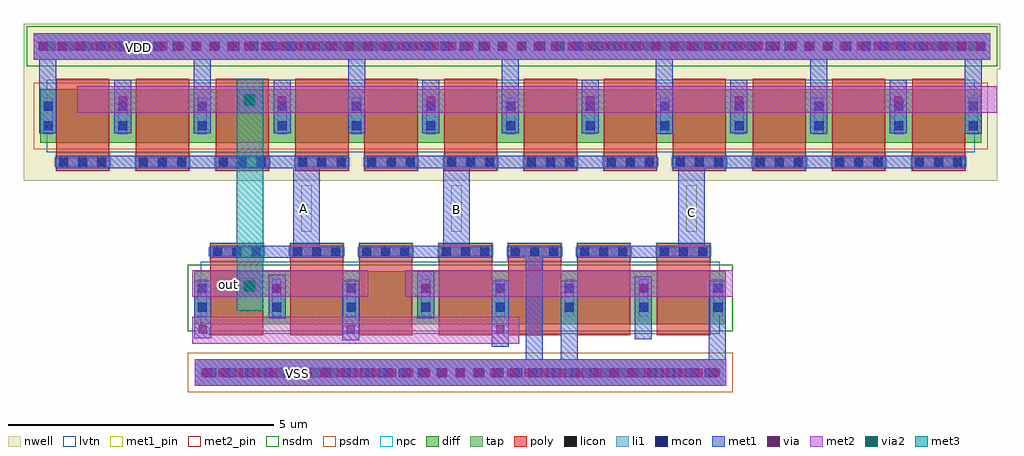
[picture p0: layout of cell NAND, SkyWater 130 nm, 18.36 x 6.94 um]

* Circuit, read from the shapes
.subckt NAND A B C VDD VSS out
XM1 out A n1 VSS sky130_fd_pr__nfet_01v8_lvt w=1 l=1 m=2
XM2 n2 B n1 VSS sky130_fd_pr__nfet_01v8_lvt w=1 l=1 m=2
XM3 VSS VSS n1 VSS sky130_fd_pr__nfet_01v8_lvt w=1 l=1
XM4 n2 C VSS VSS sky130_fd_pr__nfet_01v8_lvt w=1 l=1 m=2
XM5 out A VDD VDD sky130_fd_pr__pfet_01v8_lvt w=1 l=1 m=4
XM6 out B VDD VDD sky130_fd_pr__pfet_01v8_lvt w=1 l=1 m=4
XM7 out C VDD VDD sky130_fd_pr__pfet_01v8_lvt w=1 l=1 m=4
.ends

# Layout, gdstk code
import gdstk
lib = gdstk.Library(unit=1e-6, precision=5e-09)
def R(c, l, rs):  # rectangles x0, y0, x1, y1
    for r in rs: c.add(gdstk.rectangle(r[:2], r[2:], *l))
def A(c, l, x, y, w, h, nx, ny, dx, dy):  # array of equal rectangles
    R(c, l, [(x+i*dx, y+j*dy, x+i*dx+w, y+j*dy+h) for i in range(nx) for j in range(ny)])
nwell = (64, 20)
diff = (65, 20)
tap = (65, 44)
poly = (66, 20)
licon = (66, 44)
li1 = (67, 20)
mcon = (67, 44)
met1_pin = (68, 16)
met1 = (68, 20)
via = (68, 44)
met2_pin = (69, 16)
met2 = (69, 20)
via2 = (69, 44)
met3 = (70, 20)
nsdm = (93, 44)
psdm = (94, 20)
npc = (95, 20)
lvtn = (125, 44)

pfet = lib.new_cell('pfet')
R(pfet, nwell, [(-0.305,-0.72,6.405,1.38)])
R(pfet, diff, [(0,0,6.1,1)])
A(pfet, poly, 0.3, -0.53, 1, 0.33, 4, 1, 1.5, 0)
A(pfet, poly, 0.3, -0.2, 1, 1.4, 4, 1, 1.5, 0)
A(pfet, licon, 0.355, -0.45, 0.17, 0.17, 3, 1, 0.36, 0)
A(pfet, licon, 1.855, -0.45, 0.17, 0.17, 3, 1, 0.36, 0)
A(pfet, licon, 3.355, -0.45, 0.17, 0.17, 3, 1, 0.36, 0)
A(pfet, licon, 4.855, -0.45, 0.17, 0.17, 3, 1, 0.36, 0)
A(pfet, licon, 1.465, 0.235, 0.17, 0.17, 3, 2, 1.5, 0.36)
R(pfet, licon, [(0.065,0.235,0.235,0.405), (5.865,0.235,6.035,0.405), (0.065,0.595,0.235,0.765), (5.865,0.595,6.035,0.765)])
A(pfet, li1, 0.275, -0.45, 1.05, 0.17, 4, 1, 1.5, 0)
A(pfet, li1, 1.465, 0.155, 0.17, 0.69, 3, 1, 1.5, 0)
R(pfet, li1, [(0.065,0.155,0.235,0.845), (5.865,0.155,6.035,0.845)])
A(pfet, mcon, 0.355, -0.45, 0.17, 0.17, 3, 1, 0.36, 0)
A(pfet, mcon, 1.855, -0.45, 0.17, 0.17, 3, 1, 0.36, 0)
A(pfet, mcon, 3.355, -0.45, 0.17, 0.17, 3, 1, 0.36, 0)
A(pfet, mcon, 4.855, -0.45, 0.17, 0.17, 3, 1, 0.36, 0)
A(pfet, mcon, 1.465, 0.235, 0.17, 0.17, 3, 2, 1.5, 0.36)
R(pfet, mcon, [(0.065,0.235,0.235,0.405), (5.865,0.235,6.035,0.405), (0.065,0.595,0.235,0.765), (5.865,0.595,6.035,0.765)])
A(pfet, met1, 0.295, -0.48, 1.01, 0.23, 4, 1, 1.5, 0)
A(pfet, met1, 1.435, 0.175, 0.23, 0.65, 3, 1, 1.5, 0)
R(pfet, met1, [(0.035,0.175,0.265,0.825), (5.835,0.175,6.065,0.825)])
R(pfet, psdm, [(-0.125,-0.125,6.225,1.125)])
A(pfet, npc, 0.29, -0.54, 1.02, 0.35, 4, 1, 1.5, 0)
R(pfet, lvtn, [(0.12,-0.18,5.98,1.18)])

vias_gen = lib.new_cell('vias_gen')
R(vias_gen, nwell, [(-0.18,-0.18,18.18,0.68)])
R(vias_gen, tap, [(0,0,18,0.5)])
A(vias_gen, licon, 0.245, 0.165, 0.17, 0.17, 52, 1, 0.34, 0)
R(vias_gen, li1, [(0,0,18,0.5)])
A(vias_gen, mcon, 0.095, 0.165, 0.17, 0.17, 50, 1, 0.36, 0)
R(vias_gen, met1, [(0,0,18,0.5)])
A(vias_gen, via, 0.125, 0.175, 0.15, 0.15, 56, 1, 0.32, 0)
R(vias_gen, met2, [(0,0,18,0.5)])
R(vias_gen, nsdm, [(-0.125,-0.125,18.125,0.625)])

nfet_1 = lib.new_cell('nfet$1')
R(nfet_1, diff, [(0,0,1.6,1)])
R(nfet_1, poly, [(0.3,-0.2,1.3,1.2), (0.3,1.2,1.3,1.53)])
A(nfet_1, licon, 0.355, 1.28, 0.17, 0.17, 3, 1, 0.36, 0)
R(nfet_1, licon, [(0.065,0.235,0.235,0.405), (1.365,0.235,1.535,0.405), (0.065,0.595,0.235,0.765), (1.365,0.595,1.535,0.765)])
R(nfet_1, li1, [(0.065,0.155,0.235,0.845), (1.365,0.155,1.535,0.845), (0.275,1.28,1.325,1.45)])
A(nfet_1, mcon, 0.355, 1.28, 0.17, 0.17, 3, 1, 0.36, 0)
R(nfet_1, mcon, [(0.065,0.235,0.235,0.405), (1.365,0.235,1.535,0.405), (0.065,0.595,0.235,0.765), (1.365,0.595,1.535,0.765)])
R(nfet_1, met1, [(0.035,0.175,0.265,0.825), (1.335,0.175,1.565,0.825), (0.295,1.25,1.305,1.48)])
R(nfet_1, nsdm, [(-0.125,-0.125,1.725,1.125)])
R(nfet_1, npc, [(0.29,1.19,1.31,1.54)])
R(nfet_1, lvtn, [(0.12,-0.18,1.48,1.18)])

nfet = lib.new_cell('nfet')
R(nfet, diff, [(0,0,3.1,1)])
R(nfet, poly, [(0.3,-0.2,1.3,1.2), (1.8,-0.2,2.8,1.2), (0.3,1.2,1.3,1.53), (1.8,1.2,2.8,1.53)])
A(nfet, licon, 0.065, 0.235, 0.17, 0.17, 3, 2, 1.4, 0.36)
A(nfet, licon, 0.355, 1.28, 0.17, 0.17, 3, 1, 0.36, 0)
A(nfet, licon, 1.855, 1.28, 0.17, 0.17, 3, 1, 0.36, 0)
A(nfet, li1, 0.065, 0.155, 0.17, 0.69, 3, 1, 1.4, 0)
R(nfet, li1, [(0.275,1.28,1.325,1.45), (1.775,1.28,2.825,1.45)])
A(nfet, mcon, 0.065, 0.235, 0.17, 0.17, 3, 2, 1.4, 0.36)
A(nfet, mcon, 0.355, 1.28, 0.17, 0.17, 3, 1, 0.36, 0)
A(nfet, mcon, 1.855, 1.28, 0.17, 0.17, 3, 1, 0.36, 0)
A(nfet, met1, 0.035, 0.175, 0.23, 0.65, 3, 1, 1.4, 0)
R(nfet, met1, [(0.295,1.25,1.305,1.48), (1.795,1.25,2.805,1.48)])
R(nfet, nsdm, [(-0.125,-0.125,3.225,1.125)])
R(nfet, npc, [(0.29,1.19,1.31,1.54), (1.79,1.19,2.81,1.54)])
R(nfet, lvtn, [(0.12,-0.18,2.98,1.18)])

vias_gen_1 = lib.new_cell('vias_gen$1')
R(vias_gen_1, tap, [(0,0,10,0.5)])
A(vias_gen_1, licon, 0.155, 0.165, 0.17, 0.17, 29, 1, 0.34, 0)
R(vias_gen_1, li1, [(0,0,10,0.5)])
A(vias_gen_1, mcon, 0.235, 0.165, 0.17, 0.17, 27, 1, 0.36, 0)
R(vias_gen_1, met1, [(0,0,10,0.5)])
A(vias_gen_1, via, 0.125, 0.175, 0.15, 0.15, 31, 1, 0.32, 0)
R(vias_gen_1, met2, [(0,0,10,0.5)])
R(vias_gen_1, psdm, [(-0.125,-0.125,10.125,0.625)])

vias_gen_2 = lib.new_cell('vias_gen$2')
R(vias_gen_2, met1, [(0,0,0.32,0.26)])
R(vias_gen_2, via, [(0.085,0.055,0.235,0.205)])
R(vias_gen_2, met2, [(0,0,0.32,0.26)])

vias_gen_4 = lib.new_cell('vias_gen$4')
R(vias_gen_4, met2, [(0,0,0.37,0.33)])
R(vias_gen_4, via2, [(0.085,0.065,0.285,0.265)])
R(vias_gen_4, met3, [(0,0,0.37,0.33)])

nand = lib.new_cell('NAND')
nand.add(gdstk.FlexPath([(4.25,2.375),(4.25,3.38)], 0.32, ends="flush", simple_path=True, layer=68, datatype=20))  # met1
nand.add(gdstk.FlexPath([(5.65,2.375),(5.65,4.23)], 0.32, ends="flush", simple_path=True, layer=68, datatype=20))  # met1
nand.add(gdstk.FlexPath([(2.75,2.375),(2.75,4.23)], 0.32, ends="flush", simple_path=True, layer=68, datatype=20))  # met1
nand.add(gdstk.FlexPath([(-0.16,2.375),(-0.16,4.23)], 0.32, ends="flush", simple_path=True, layer=68, datatype=20))  # met1
nand.add(gdstk.FlexPath([(8.54,2.375),(8.54,4.23)], 0.32, ends="flush", simple_path=True, layer=68, datatype=20))  # met1
nand.add(gdstk.FlexPath([(11.44,2.37),(11.44,4.225)], 0.32, ends="flush", simple_path=True, layer=68, datatype=20))  # met1
nand.add(gdstk.FlexPath([(14.35,2.37),(14.35,4.225)], 0.32, ends="flush", simple_path=True, layer=68, datatype=20))  # met1
nand.add(gdstk.FlexPath([(17.25,2.37),(17.25,4.225)], 0.32, ends="flush", simple_path=True, layer=68, datatype=20))  # met1
nand.add(gdstk.FlexPath([(1.25,2.375),(1.25,3.38)], 0.32, ends="flush", simple_path=True, layer=68, datatype=20))  # met1
nand.add(gdstk.FlexPath([(7.05,2.375),(7.05,3.38)], 0.32, ends="flush", simple_path=True, layer=68, datatype=20))  # met1
nand.add(gdstk.FlexPath([(10.05,2.375),(10.05,3.38)], 0.32, ends="flush", simple_path=True, layer=68, datatype=20))  # met1
nand.add(gdstk.FlexPath([(12.84,2.375),(12.84,3.38)], 0.32, ends="flush", simple_path=True, layer=68, datatype=20))  # met1
nand.add(gdstk.FlexPath([(15.84,2.375),(15.84,3.38)], 0.32, ends="flush", simple_path=True, layer=68, datatype=20))  # met1
nand.add(gdstk.FlexPath([(0.92,1.835),(1.725,1.835)], 0.23, ends="flush", simple_path=True, layer=68, datatype=20))  # met1
nand.add(gdstk.FlexPath([(2.32,1.835),(3.125,1.835)], 0.23, ends="flush", simple_path=True, layer=68, datatype=20))  # met1
nand.add(gdstk.FlexPath([(3.84,1.835),(4.645,1.835)], 0.23, ends="flush", simple_path=True, layer=68, datatype=20))  # met1
nand.add(gdstk.FlexPath([(6.685,1.835),(7.49,1.835)], 0.23, ends="flush", simple_path=True, layer=68, datatype=20))  # met1
nand.add(gdstk.FlexPath([(8.085,1.835),(8.89,1.835)], 0.23, ends="flush", simple_path=True, layer=68, datatype=20))  # met1
nand.add(gdstk.FlexPath([(9.605,1.835),(10.41,1.835)], 0.23, ends="flush", simple_path=True, layer=68, datatype=20))  # met1
nand.add(gdstk.FlexPath([(12.545,1.835),(13.35,1.835)], 0.23, ends="flush", simple_path=True, layer=68, datatype=20))  # met1
nand.add(gdstk.FlexPath([(13.945,1.835),(14.75,1.835)], 0.23, ends="flush", simple_path=True, layer=68, datatype=20))  # met1
nand.add(gdstk.FlexPath([(15.465,1.835),(16.27,1.835)], 0.23, ends="flush", simple_path=True, layer=68, datatype=20))  # met1
nand.add(gdstk.FlexPath([(8.995,-1.98),(8.995,0.26)], 0.32, ends="flush", simple_path=True, layer=68, datatype=20))  # met1
nand.add(gdstk.FlexPath([(3.835,0.145),(4.64,0.145)], 0.23, ends="flush", simple_path=True, layer=68, datatype=20))  # met1
nand.add(gdstk.FlexPath([(6.61,0.145),(7.415,0.145)], 0.23, ends="flush", simple_path=True, layer=68, datatype=20))  # met1
nand.add(gdstk.FlexPath([(10.7,0.145),(11.505,0.145)], 0.23, ends="flush", simple_path=True, layer=68, datatype=20))  # met1
nand.add(gdstk.FlexPath([(11.045,-1.5),(11.045,-0.31)], 0.32, ends="flush", simple_path=True, layer=68, datatype=20))  # met1
nand.add(gdstk.FlexPath([(8.35,-0.395),(8.35,-1.64)], 0.32, ends="flush", simple_path=True, layer=68, datatype=20))  # met1
nand.add(gdstk.FlexPath([(6.95,-1.1),(6.95,-0.22)], 0.32, ends="flush", simple_path=True, layer=68, datatype=20))  # met1
nand.add(gdstk.FlexPath([(5.545,-0.395),(5.545,-1.52)], 0.32, ends="flush", simple_path=True, layer=68, datatype=20))  # met1
nand.add(gdstk.FlexPath([(2.755,-0.395),(2.755,-1.48)], 0.32, ends="flush", simple_path=True, layer=68, datatype=20))  # met1
nand.add(gdstk.FlexPath([(9.65,-0.395),(9.65,-2.33)], 0.32, ends="flush", simple_path=True, layer=68, datatype=20))  # met1
nand.add(gdstk.FlexPath([(12.44,-2.245),(12.44,-0.395)], 0.32, ends="flush", simple_path=True, layer=68, datatype=20))  # met1
nand.add(gdstk.FlexPath([(4.16,-1.1),(4.16,-0.29)], 0.32, ends="flush", simple_path=True, layer=68, datatype=20))  # met1
nand.add(gdstk.FlexPath([(4.71,0.03),(4.71,1.92)], 0.5, ends="flush", simple_path=True, layer=68, datatype=20))  # met1
nand.add(gdstk.FlexPath([(7.53,0.03),(7.53,1.92)], 0.5, ends="flush", simple_path=True, layer=68, datatype=20))  # met1
nand.add(gdstk.FlexPath([(11.95,0.03),(11.95,1.92)], 0.5, ends="flush", simple_path=True, layer=68, datatype=20))  # met1
nand.add(gdstk.FlexPath([(2.56,-1.33),(8.71,-1.33)], 0.5, ends="flush", simple_path=True, layer=69, datatype=20))  # met2
nand.add(gdstk.FlexPath([(2.56,-0.45),(5.87,-0.45)], 0.5, ends="flush", simple_path=True, layer=69, datatype=20))  # met2
nand.add(gdstk.FlexPath([(6.57,-0.45),(12.725,-0.45)], 0.5, ends="flush", simple_path=True, layer=69, datatype=20))  # met2
nand.add(gdstk.FlexPath([(0.4,3.01),(17.705,3.01)], 0.5, ends="flush", simple_path=True, layer=69, datatype=20))  # met2
nand.add(gdstk.FlexPath([(3.65,-0.96),(3.65,3.4)], 0.5, ends="flush", simple_path=True, layer=70, datatype=20))  # met3
nand.add(gdstk.FlexPath([(4.71,1.4),(4.71,0.52),(4.71,0.52)], 0.2, ends="flush", simple_path=True, layer=68, datatype=16))  # met1_pin
nand.add(gdstk.FlexPath([(7.53,1.4),(7.53,0.52),(7.53,0.52)], 0.2, ends="flush", simple_path=True, layer=68, datatype=16))  # met1_pin
nand.add(gdstk.FlexPath([(11.95,1.4),(11.95,0.52),(11.95,0.52)], 0.2, ends="flush", simple_path=True, layer=68, datatype=16))  # met1_pin
nand.add(gdstk.FlexPath([(0.92,4.01),(2.26,4.01)], 0.2, ends="flush", simple_path=True, layer=68, datatype=16))  # met1_pin
nand.add(gdstk.FlexPath([(3.92,-2.125),(5.17,-2.125)], 0.2, ends="flush", simple_path=True, layer=68, datatype=16))  # met1_pin
nand.add(gdstk.FlexPath([(2.9,-0.45),(3.735,-0.45)], 0.2, ends="flush", simple_path=True, layer=69, datatype=16))  # met2_pin
nand.add(gdstk.Reference(pfet, (-0.3,2.2)))
nand.add(gdstk.Reference(pfet, (5.5,2.2)))
nand.add(gdstk.Reference(pfet, (11.3,2.2)))
nand.add(gdstk.Reference(vias_gen, (-0.425,3.76)))
nand.add(gdstk.Reference(nfet_1, (8.2,-1.22)))
nand.add(gdstk.Reference(nfet, (9.5,-1.22)))
nand.add(gdstk.Reference(nfet, (5.4,-1.22)))
nand.add(gdstk.Reference(nfet, (2.6,-1.22)))
nand.add(gdstk.Reference(vias_gen_1, (2.605,-2.375)))
nand.add(gdstk.Reference(vias_gen_2, (2.595,-1.44)))
nand.add(gdstk.Reference(vias_gen_2, (5.385,-1.44)))
nand.add(gdstk.Reference(vias_gen_2, (4,-0.66)))
nand.add(gdstk.Reference(vias_gen_2, (8.19,-1.44)))
nand.add(gdstk.Reference(vias_gen_2, (6.79,-0.66)))
nand.add(gdstk.Reference(vias_gen_2, (10.88,-0.66)))
nand.add(gdstk.Reference(vias_gen_2, (1.09,2.87)))
nand.add(gdstk.Reference(vias_gen_2, (4.09,2.87)))
nand.add(gdstk.Reference(vias_gen_2, (6.89,2.87)))
nand.add(gdstk.Reference(vias_gen_2, (9.89,2.87)))
nand.add(gdstk.Reference(vias_gen_2, (12.68,2.87)))
nand.add(gdstk.Reference(vias_gen_2, (15.68,2.87)))
nand.add(gdstk.Reference(vias_gen_4, (3.45,-0.66)))
nand.add(gdstk.Reference(vias_gen_4, (3.45,2.84)))
nand.add(gdstk.Label('A', (4.66,0.96), layer=68, texttype=16))
nand.add(gdstk.Label('B', (7.53,0.945), layer=68, texttype=16))
nand.add(gdstk.Label('C', (11.95,0.89), layer=68, texttype=16))
nand.add(gdstk.Label('VDD', (1.55,3.98), layer=68, texttype=16))
nand.add(gdstk.Label('VSS', (4.54,-2.14), layer=68, texttype=16))
nand.add(gdstk.Label('out', (3.24,-0.47), layer=69, texttype=16))

lib.write_gds('NAND.gds')
